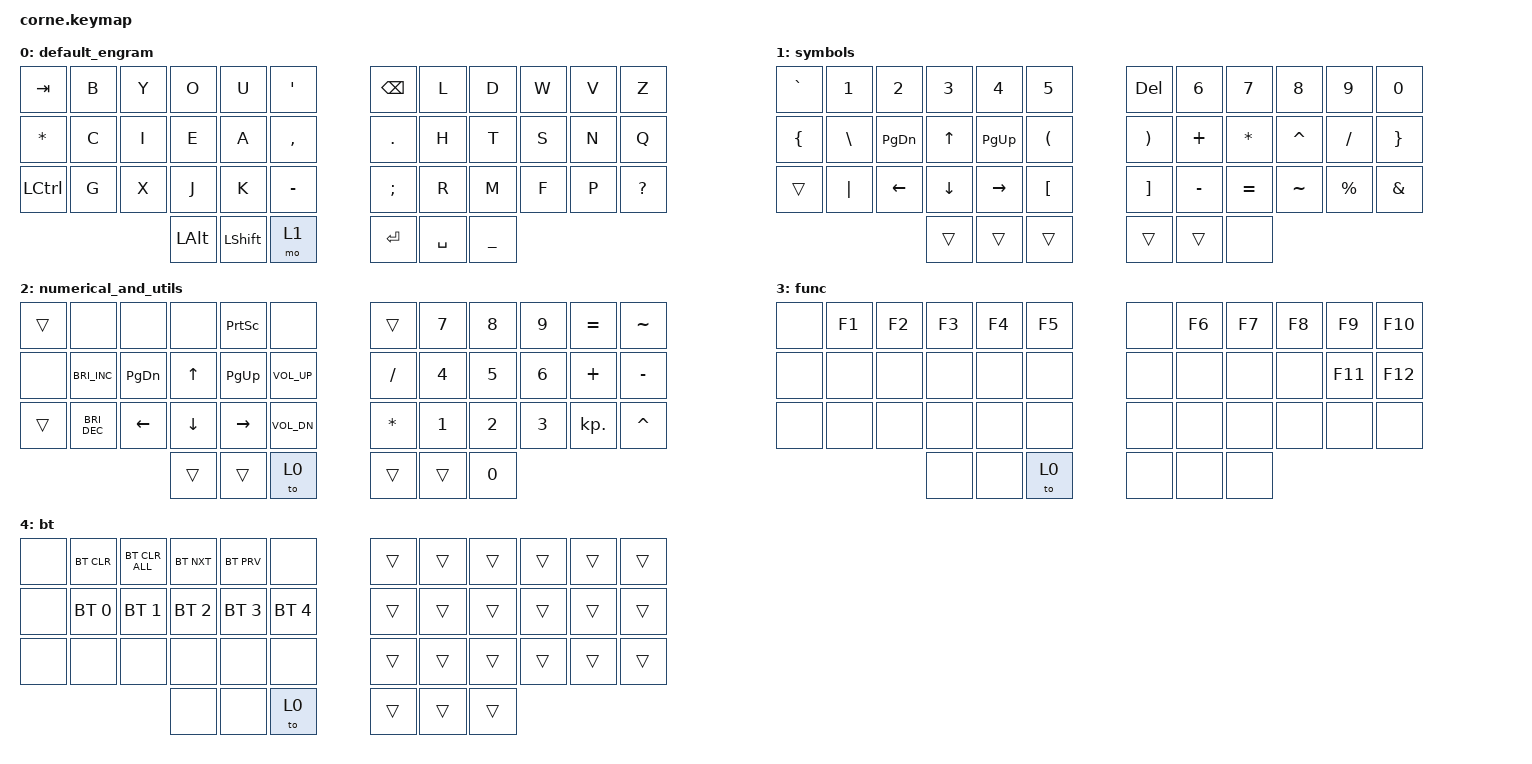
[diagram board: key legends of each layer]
/*
 * Copyright (c) 2020 The ZMK Contributors
 *
 * SPDX-License-Identifier: MIT
 */

#include <behaviors.dtsi>
#include <dt-bindings/zmk/bt.h>
#include <dt-bindings/zmk/keys.h>

/ {
    /* ==========================================================
     *  Custom combo + macro: Lower + Tab -> Alt+Tab (task switch)
     *  ----------------------------------------------------------
     *  NOTE: Replace the <row col> pairs in `key-positions` with
     *  the actual matrix positions for your Tab and Lower keys.
     *  Example shown assumes:
     *      - Tab  : matrix position <0 0>
     *      - Lower: matrix position <3 1>
     *  Get the correct numbers from your `kscan` matrix in the
     *  board overlay and adjust if necessary.
     * ========================================================== */

    combos {
        compatible = "zmk,combos";

        euro {
            bindings = <&euro_v1>;
            key-positions = <28 29>;
            layers = <0>;
            timeout-ms = <300>;
        };

        at {
            bindings = <&kp AT>;
            key-positions = <37 41>;
            layers = <0>;
            timeout-ms = <300>;
        };

        dollar {
            bindings = <&kp DOLLAR>;
            key-positions = <37 29>;
            layers = <0>;
            timeout-ms = <300>;
        };

        hash {
            bindings = <&kp HASH>;
            key-positions = <37 12>;
            timeout-ms = <300>;
            layers = <0>;
        };

        excl {
            bindings = <&kp EXCL>;
            key-positions = <37 35>;
            timeout-ms = <300>;
            layers = <0>;
        };

        toggle_bt {
            bindings = <&tog 4>;
            key-positions = <31 32 33>;
        };

        toggle_func {
            bindings = <&tog 3>;
            key-positions = <19 20 21>;
        };

        toggle_num {
            bindings = <&tog 2>;
            key-positions = <7 8 9>;
        };

        esc {
            bindings = <&kp ESC>;
            key-positions = <0 1>;
        };

        elipsis {
            bindings = <&elipsis>;
            key-positions = <18 19 20>;
            layers = <0>;
        };
    };

    macros {
        euro_v1: euro_v1 {
            compatible = "zmk,behavior-macro";
            #binding-cells = <0>;
            bindings =
                <&macro_press>,
                <&kp LCTRL &kp LSHFT>,
                <&macro_tap>,
                <&kp U>,
                <&macro_release>,
                <&kp LCTRL &kp LSHFT>,
                <&macro_tap>,
                <&kp KP_N2 &kp KP_N0 &kp A &kp C &kp SPACE>;

            label = "EURO_V1";
        };

        elipsis: elipsis {
            compatible = "zmk,behavior-macro";
            #binding-cells = <0>;
            bindings = <&macro_tap>, <&kp DOT &kp DOT &kp DOT>;

            label = "ELIPSIS";
        };
    };

    keymap {
        compatible = "zmk,keymap";

        default_engram {
            /* -------------------------------------------------------------
             * |  TAB |  Q  |  W  |  E  |  R  |  T  |   |  Y  |  U   |  I  |  O  |  ;  | BSPC |
             * | SHFT |  A  |  S  |  D  |  F  |  G  |   |  H  |  J   |  K  |  L  |  P  |  '   |
             * | CTRL |  Z  |  X  |  C  |  V  |  B  |   |  N  |  M   |  ,  |  .  |  /  | RALT |
             *                    | ESC | LWR | SPC |   | ENT | RSE  | BSPC |
             * ------------------------------------------------------------- */

            bindings = <
&kp TAB    &kp B  &kp Y  &kp O     &kp U       &kp SQT      &kp BSPC  &kp L      &kp D      &kp W  &kp V  &kp Z
&kp ASTRK  &kp C  &kp I  &kp E     &kp A       &kp COMMA    &kp DOT   &kp H      &kp T      &kp S  &kp N  &kp Q
&kp LCTRL  &kp G  &kp X  &kp J     &kp K       &kp MINUS    &kp SEMI  &kp R      &kp M      &kp F  &kp P  &kp QUESTION
                         &kp LALT  &kp LSHIFT  &mo 1        &kp RET   &kp SPACE  &kp UNDER
            >;
        };

        symbols {
            bindings = <
&kp GRAVE       &kp N1    &kp N2     &kp N3    &kp N4     &kp N5                  &kp DEL                &kp N6     &kp N7     &kp N8     &kp N9     &kp N0
&kp LEFT_BRACE  &kp BSLH  &kp PG_DN  &kp UP    &kp PG_UP  &kp LEFT_PARENTHESIS    &kp RIGHT_PARENTHESIS  &kp PLUS   &kp ASTRK  &kp CARET  &kp FSLH   &kp RIGHT_BRACE
&trans          &kp PIPE  &kp LEFT   &kp DOWN  &kp RIGHT  &kp LEFT_BRACKET        &kp RIGHT_BRACKET      &kp MINUS  &kp EQUAL  &kp TILDE  &kp PRCNT  &kp AMPS
                                     &trans    &trans     &trans                  &trans                 &trans     &none
            >;
        };

        numerical_and_utils {
            bindings = <
&trans  &none          &none      &none     &kp PRINTSCREEN  &none           &trans     &kp N7  &kp N8  &kp N9  &kp EQUAL   &kp TILDE
&none   &kp C_BRI_INC  &kp PG_DN  &kp UP    &kp PG_UP        &kp C_VOL_UP    &kp FSLH   &kp N4  &kp N5  &kp N6  &kp PLUS    &kp MINUS
&trans  &kp C_BRI_DEC  &kp LEFT   &kp DOWN  &kp RIGHT        &kp C_VOL_DN    &kp ASTRK  &kp N1  &kp N2  &kp N3  &kp KP_DOT  &kp CARET
                                  &trans    &trans           &to 0           &trans     &trans  &kp N0
            >;
        };

        func {
            bindings = <
&none  &kp F1  &kp F2  &kp F3  &kp F4  &kp F5    &none  &kp F6  &kp F7  &kp F8  &kp F9   &kp F10
&none  &none   &none   &none   &none   &none     &none  &none   &none   &none   &kp F11  &kp F12
&none  &none   &none   &none   &none   &none     &none  &none   &none   &none   &none    &none
                       &none   &none   &to 0     &none  &none   &none
            >;
        };

        bt {
            bindings = <
&none  &bt BT_CLR    &bt BT_CLR_ALL  &bt BT_NXT    &bt BT_PRV    &none           &trans  &trans  &trans  &trans  &trans  &trans
&none  &bt BT_SEL 0  &bt BT_SEL 1    &bt BT_SEL 2  &bt BT_SEL 3  &bt BT_SEL 4    &trans  &trans  &trans  &trans  &trans  &trans
&none  &none         &none           &none         &none         &none           &trans  &trans  &trans  &trans  &trans  &trans
                                     &none         &none         &to 0           &trans  &trans  &trans
            >;
        };
    };
};
